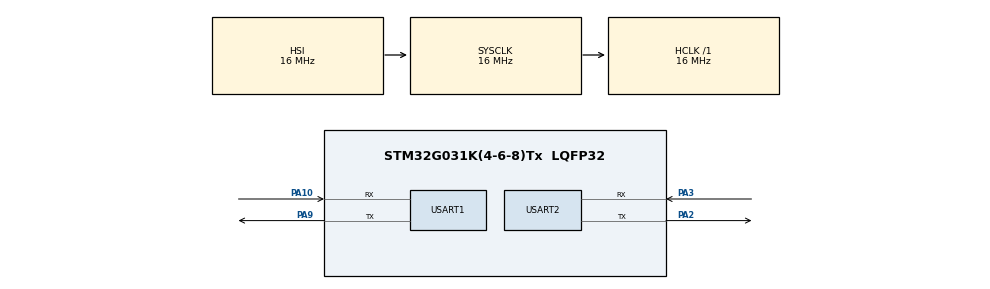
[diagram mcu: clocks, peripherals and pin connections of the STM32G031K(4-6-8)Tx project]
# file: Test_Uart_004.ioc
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Dma.Request0=USART1_RX
Dma.USART1_RX.0.Direction=DMA_PERIPH_TO_MEMORY
Dma.USART1_RX.0.EventEnable=DISABLE
Dma.USART1_RX.0.Instance=DMA1_Channel1
Dma.USART1_RX.0.MemDataAlignment=DMA_MDATAALIGN_BYTE
Dma.USART1_RX.0.MemInc=DMA_MINC_ENABLE
Dma.USART1_RX.0.Mode=DMA_NORMAL
Dma.USART1_RX.0.PeriphDataAlignment=DMA_PDATAALIGN_BYTE
Dma.USART1_RX.0.PeriphInc=DMA_PINC_DISABLE
Dma.USART1_RX.0.Polarity=HAL_DMAMUX_REQ_GEN_RISING
Dma.USART1_RX.0.Priority=DMA_PRIORITY_LOW
Dma.USART1_RX.0.RequestNumber=1
Dma.USART1_RX.0.SignalID=NONE
Dma.USART1_RX.0.SyncEnable=DISABLE
Dma.USART1_RX.0.SyncPolarity=HAL_DMAMUX_SYNC_NO_EVENT
Dma.USART1_RX.0.SyncRequestNumber=1
Dma.USART1_RX.0.SyncSignalID=NONE
Mcu.Family=STM32G0
Mcu.Name=STM32G031K(4-6-8)Tx
Mcu.Package=LQFP32
NVIC.DMA1_Channel1_IRQn=true\:0\:0\:false\:false\:true\:false\:true\:true
NVIC.USART1_IRQn=true\:0\:0\:false\:false\:true\:true\:true\:true
PA10.Mode=Asynchronous
PA10.Signal=USART1_RX
PA13.Mode=Serial_Wire
PA13.Signal=SYS_SWDIO
PA14-BOOT0.Mode=Serial_Wire
PA14-BOOT0.Signal=SYS_SWCLK
PA2.Mode=Asynchronous
PA2.Signal=USART2_TX
PA3.Mode=Asynchronous
PA3.Signal=USART2_RX
PA9.Mode=Asynchronous
PA9.Signal=USART1_TX
ProjectManager.HeapSize=0x200
ProjectManager.StackSize=0x400
ProjectManager.TargetToolchain=STM32CubeIDE
RCC.AHBFreq_Value=16000000
RCC.CortexFreq_Value=16000000
RCC.EXTERNAL_CLOCK_VALUE=12288000
RCC.HCLKFreq_Value=16000000
RCC.HSE_VALUE=8000000
RCC.HSI_VALUE=16000000
RCC.LSE_VALUE=32768
RCC.SYSCLKFreq_VALUE=16000000
RCC.VCOOutputFreq_Value=128000000
USART1.VirtualMode-Asynchronous=VM_ASYNC
USART2.VirtualMode-Asynchronous=VM_ASYNC
board=custom

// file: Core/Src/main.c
/* USER CODE BEGIN Header */
/**
  ******************************************************************************
  * @file           : main.c
  * @brief          : Main program body
  ******************************************************************************
  * @attention
  *
  * Copyright (c) 2022 STMicroelectronics.
  * All rights reserved.
  *
  * This software is licensed under terms that can be found in the LICENSE file
  * in the root directory of this software component.
  * If no LICENSE file comes with this software, it is provided AS-IS.
  *
  ******************************************************************************
  */
/* USER CODE END Header */
#include "main.h"

/* USER CODE BEGIN Includes */
#include <stdio.h>
#include <string.h>
/* USER CODE END Includes */

/* USER CODE BEGIN PD */
#define UART_TX_TIMEOUT 100
#define RX_BUFF_SIZE 50
/* USER CODE END PD */

UART_HandleTypeDef huart1;
UART_HandleTypeDef huart2;
DMA_HandleTypeDef hdma_usart1_rx;

/* USER CODE BEGIN PV */
char                hello[]         = "HELLO\n" ;
HAL_StatusTypeDef   uart_status ;
uint8_t             tx_buff[RX_BUFF_SIZE]       = { 1 , 2 , 3 , 4 , 5 } ;
uint8_t             rx_buff[RX_BUFF_SIZE];
/* USER CODE END PV */

void SystemClock_Config(void);
static void MX_GPIO_Init(void);
static void MX_DMA_Init(void);
static void MX_USART2_UART_Init(void);
static void MX_USART1_UART_Init(void);
/* USER CODE BEGIN PFP */
static void cpy_buff ( uint8_t* , uint8_t* ) ;
/* USER CODE END PFP */

int main(void)
{

  /* MCU Configuration--------------------------------------------------------*/

  /* Reset of all peripherals, Initializes the Flash interface and the Systick. */
  HAL_Init();

  /* Configure the system clock */
  SystemClock_Config();

  /* Initialize all configured peripherals */
  MX_GPIO_Init();
  MX_DMA_Init();
  MX_USART2_UART_Init(); //COM4 on MW50-SV0
  MX_USART1_UART_Init(); //COM10 on MW50-SV0
  /* USER CODE BEGIN 2 */
  uart_status = HAL_UART_Transmit ( &huart1 , (const uint8_t *) hello , strlen ( hello ) , UART_TX_TIMEOUT ) ;
  uart_status = HAL_UART_Transmit ( &huart2 , (const uint8_t *) hello , strlen ( hello ) , UART_TX_TIMEOUT ) ;
  HAL_UARTEx_ReceiveToIdle_DMA ( &huart1 , rx_buff , sizeof ( rx_buff ) ) ;
  /* USER CODE END 2 */

  /* Infinite loop */
  /* USER CODE BEGIN WHILE */
  while (1)
  {
    //HAL_Delay ( 1000 ) ;
	  __NOP () ;
    /* USER CODE END WHILE */

  }
}

void SystemClock_Config(void)
{
  RCC_OscInitTypeDef RCC_OscInitStruct = {0};
  RCC_ClkInitTypeDef RCC_ClkInitStruct = {0};

  /** Configure the main internal regulator output voltage
  */
  HAL_PWREx_ControlVoltageScaling(PWR_REGULATOR_VOLTAGE_SCALE1);

  /** Initializes the RCC Oscillators according to the specified parameters
  * in the RCC_OscInitTypeDef structure.
  */
  RCC_OscInitStruct.OscillatorType = RCC_OSCILLATORTYPE_HSI;
  RCC_OscInitStruct.HSIState = RCC_HSI_ON;
  RCC_OscInitStruct.HSIDiv = RCC_HSI_DIV1;
  RCC_OscInitStruct.HSICalibrationValue = RCC_HSICALIBRATION_DEFAULT;
  RCC_OscInitStruct.PLL.PLLState = RCC_PLL_NONE;
  if (HAL_RCC_OscConfig(&RCC_OscInitStruct) != HAL_OK)
  {
    Error_Handler();
  }

  /** Initializes the CPU, AHB and APB buses clocks
  */
  RCC_ClkInitStruct.ClockType = RCC_CLOCKTYPE_HCLK|RCC_CLOCKTYPE_SYSCLK
                              |RCC_CLOCKTYPE_PCLK1;
  RCC_ClkInitStruct.SYSCLKSource = RCC_SYSCLKSOURCE_HSI;
  RCC_ClkInitStruct.AHBCLKDivider = RCC_SYSCLK_DIV1;
  RCC_ClkInitStruct.APB1CLKDivider = RCC_HCLK_DIV1;

  if (HAL_RCC_ClockConfig(&RCC_ClkInitStruct, FLASH_LATENCY_0) != HAL_OK)
  {
    Error_Handler();
  }
}

static void MX_USART1_UART_Init(void)
{

  huart1.Instance = USART1;
  huart1.Init.BaudRate = 115200;
  huart1.Init.WordLength = UART_WORDLENGTH_8B;
  huart1.Init.StopBits = UART_STOPBITS_1;
  huart1.Init.Parity = UART_PARITY_NONE;
  huart1.Init.Mode = UART_MODE_TX_RX;
  huart1.Init.HwFlowCtl = UART_HWCONTROL_NONE;
  huart1.Init.OverSampling = UART_OVERSAMPLING_16;
  huart1.Init.OneBitSampling = UART_ONE_BIT_SAMPLE_DISABLE;
  huart1.Init.ClockPrescaler = UART_PRESCALER_DIV1;
  huart1.AdvancedInit.AdvFeatureInit = UART_ADVFEATURE_NO_INIT;
  if (HAL_UART_Init(&huart1) != HAL_OK)
  {
    Error_Handler();
  }
  if (HAL_UARTEx_SetTxFifoThreshold(&huart1, UART_TXFIFO_THRESHOLD_1_8) != HAL_OK)
  {
    Error_Handler();
  }
  if (HAL_UARTEx_SetRxFifoThreshold(&huart1, UART_RXFIFO_THRESHOLD_1_8) != HAL_OK)
  {
    Error_Handler();
  }
  if (HAL_UARTEx_DisableFifoMode(&huart1) != HAL_OK)
  {
    Error_Handler();
  }

}

static void MX_USART2_UART_Init(void)
{

  huart2.Instance = USART2;
  huart2.Init.BaudRate = 115200;
  huart2.Init.WordLength = UART_WORDLENGTH_8B;
  huart2.Init.StopBits = UART_STOPBITS_1;
  huart2.Init.Parity = UART_PARITY_NONE;
  huart2.Init.Mode = UART_MODE_TX_RX;
  huart2.Init.HwFlowCtl = UART_HWCONTROL_NONE;
  huart2.Init.OverSampling = UART_OVERSAMPLING_16;
  huart2.Init.OneBitSampling = UART_ONE_BIT_SAMPLE_DISABLE;
  huart2.Init.ClockPrescaler = UART_PRESCALER_DIV1;
  huart2.AdvancedInit.AdvFeatureInit = UART_ADVFEATURE_NO_INIT;
  if (HAL_UART_Init(&huart2) != HAL_OK)
  {
    Error_Handler();
  }

}

static void MX_DMA_Init(void)
{

  /* DMA controller clock enable */
  __HAL_RCC_DMA1_CLK_ENABLE();

  /* DMA interrupt init */
  /* DMA1_Channel1_IRQn interrupt configuration */
  HAL_NVIC_SetPriority(DMA1_Channel1_IRQn, 0, 0);
  HAL_NVIC_EnableIRQ(DMA1_Channel1_IRQn);

}

static void MX_GPIO_Init(void)
{

  /* GPIO Ports Clock Enable */
  __HAL_RCC_GPIOA_CLK_ENABLE();

}

/* USER CODE BEGIN 4 */
void HAL_UARTEx_RxEventCallback ( UART_HandleTypeDef *huart , uint16_t Size )
{
    if ( huart->Instance == USART1 ) ;
    if ( rx_buff[0] != 0 )
    {
        cpy_buff ( rx_buff , tx_buff ) ;
        rx_buff[0] = 0 ;
        uart_status = HAL_UART_Transmit ( &huart2 , (const uint8_t *) tx_buff ,  strlen ( (char*) tx_buff ) , UART_TX_TIMEOUT ) ;
    }

    HAL_UARTEx_ReceiveToIdle_DMA ( &huart1 , rx_buff , sizeof ( rx_buff ) ) ;
}
void cpy_buff ( uint8_t* s , uint8_t* d )
{
    uint8_t i = 0 ;
    if ( sizeof ( s ) == sizeof ( d ) )
    {
        for ( i = 0 ; i < RX_BUFF_SIZE ; i++ )
        {
            switch ( i )
            {
                case ( RX_BUFF_SIZE - 2 ) :
                    d[i] = 0x0A ;
                    break;
                case ( RX_BUFF_SIZE - 1 ) :
                    d[i] = 0 ;
                    break;
                default :
                    d[i] = s[i] ;
            }
        }
    }
}
/* USER CODE END 4 */

void Error_Handler(void)
{
  __disable_irq();
  while (1)
  {
  }
}
